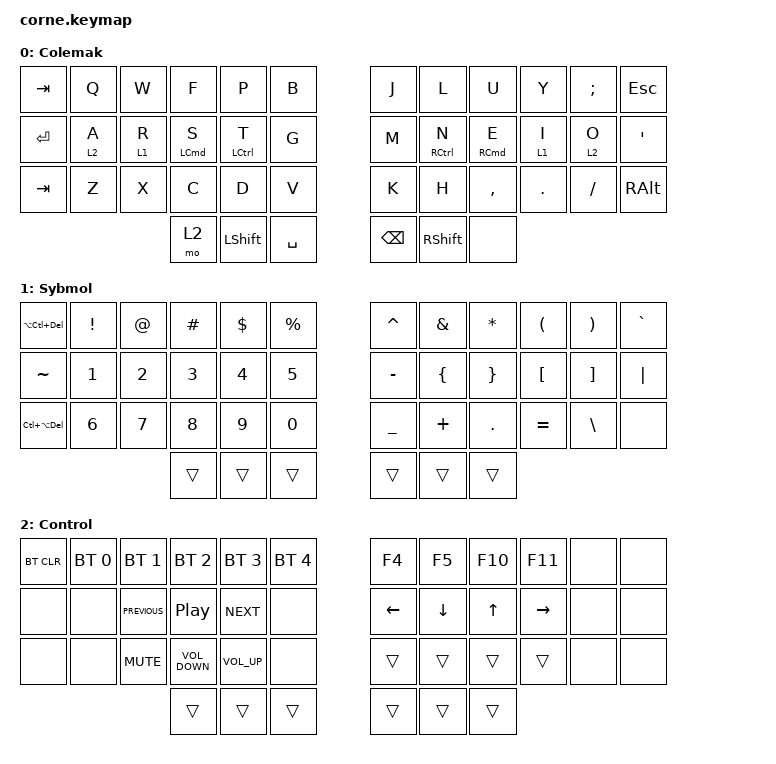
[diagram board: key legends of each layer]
/*
 * Copyright (c) 2020 The ZMK Contributors
 *
 * SPDX-License-Identifier: MIT
 */

#include <behaviors.dtsi>
#include <dt-bindings/zmk/bt.h>
#include <dt-bindings/zmk/keys.h>

/ {
    behaviors {
        hrm_tl: balanced_homerow_mods {
            compatible = "zmk,behavior-hold-tap";
            #binding-cells = <2>;
            tapping-term-ms = <200>;    // <---[[moderate duration]]
            quick-tap-ms = <0>;
            flavor = "tap-preferred";
            bindings = <&kp>, <&kp>;

            hold-trigger-key-positions = <6 7 8 9 10 11 18 19 20 21 22 23 30 31 32 33 34 35 40 41 39>;
            require-prior-idle-ms = <200>;
        };

        hrm_lr: hrm_lr {
            compatible = "zmk,behavior-hold-tap";
            label = "HRM_LR";
            bindings = <&mo>, <&kp>;

            #binding-cells = <2>;
            flavor = "tap-preferred";
            tapping-term-ms = <200>;
            hold-trigger-key-positions = <0 1 2 3 4 5 12 13 14 15 16 17 24 25 26 27 28 29 36 37 38>;
            require-prior-idle-ms = <200>;
        };

        hrm_tr: hrm_tr {
            compatible = "zmk,behavior-hold-tap";
            #binding-cells = <2>;
            tapping-term-ms = <200>;
            quick-tap-ms = <0>;
            flavor = "tap-preferred";
            bindings = <&kp>, <&kp>;

            label = "HRM_TR";
            hold-trigger-key-positions = <0 1 2 3 4 5 12 13 14 15 16 17 24 25 26 27 28 29 36 37 38>;
            require-prior-idle-ms = <200>;
        };

        hrm_ll: hrm_ll {
            compatible = "zmk,behavior-hold-tap";
            label = "HRM_LL";
            bindings = <&mo>, <&kp>;

            #binding-cells = <2>;
            flavor = "tap-preferred";
            tapping-term-ms = <200>;
            hold-trigger-key-positions = <6 7 8 9 10 11 18 19 20 21 22 23 30 31 32 33 34 35 39 40 41>;
            require-prior-idle-ms = <200>;
        };
    };

    combos {
        compatible = "zmk,combos";

        boot_r {
            bindings = <&bootloader>;
            key-positions = <33 34 35 32>;
        };

        boot_l {
            bindings = <&bootloader>;
            key-positions = <24 25 26 27>;
        };
    };

    keymap {
        compatible = "zmk,keymap";

        Colemak {
            // -----------------------------------------------------------------------------------------
            // |  TAB |  Q  |  W  |  E  |  R  |  T  |   |  Y  |  U   |  I  |  O  |  P  | BKSP |
            // | CTRL |  A  |  S  |  D  |  F  |  G  |   |  H  |  J   |  K  |  L  |  ;  |  '   |
            // | SHFT |  Z  |  X  |  C  |  V  |  B  |   |  N  |  M   |  ,  |  .  |  /  | ESC  |
            //                    | GUI | LWR | SPC |   | ENT | RSE  | ALT |

            bindings = <
&kp TAB    &kp Q        &kp W        &kp F           &kp P            &kp B        &kp J          &kp L                    &kp U           &kp Y        &kp SEMICOLON  &kp ESCAPE
&kp ENTER  &hrm_ll 2 A  &hrm_ll 1 R  &hrm_tl LCMD S  &hrm_tl LCTRL T  &kp G        &kp M          &hrm_tr RIGHT_CONTROL N  &hrm_tr RCMD E  &hrm_lr 1 I  &hrm_lr 2 O    &kp SQT
&kp TAB    &kp Z        &kp X        &kp C           &kp D            &kp V        &kp K          &kp H                    &kp COMMA       &kp DOT      &kp FSLH       &kp RIGHT_ALT
                                     &mo 2           &kp LEFT_SHIFT   &kp SPACE    &kp BACKSPACE  &kp RIGHT_SHIFT          &none
            >;
        };

        Sybmol {
            // -----------------------------------------------------------------------------------------
            // |  TAB |  1  |  2  |  3  |  4  |  5  |   |  6  |  7  |  8  |  9  |  0  | BKSP |
            // | BTCLR| BT1 | BT2 | BT3 | BT4 | BT5 |   | LFT | DWN |  UP | RGT |     |      |
            // | SHFT |     |     |     |     |     |   |     |     |     |     |     |      |
            //                    | GUI |     | SPC |   | ENT |     | ALT |

            bindings = <
&kp LA(LC(DELETE))  &kp EXCL      &kp AT        &kp HASH      &kp DOLLAR    &kp PERCENT    &kp CARET       &kp AMPERSAND   &kp ASTERISK     &kp LEFT_PARENTHESIS  &kp RIGHT_PARENTHESIS  &kp GRAVE
&kp TILDE           &kp NUMBER_1  &kp NUMBER_2  &kp NUMBER_3  &kp NUMBER_4  &kp N5         &kp MINUS       &kp LEFT_BRACE  &kp RIGHT_BRACE  &kp LEFT_BRACKET      &kp RIGHT_BRACKET      &kp PIPE
&kp LC(LA(DELETE))  &kp NUMBER_6  &kp N7        &kp N8        &kp N9        &kp N0         &kp UNDERSCORE  &kp PLUS        &kp PERIOD       &kp EQUAL             &kp BACKSLASH          &none
                                                &trans        &trans        &trans         &trans          &trans          &trans
            >;
        };

        Control {
            // -----------------------------------------------------------------------------------------
            // |  TAB |  !  |  @  |  #  |  $  |  %  |   |  ^  |  &  |  *  |  (  |  )  | BKSP |
            // | CTRL |     |     |     |     |     |   |  -  |  =  |  [  |  ]  |  \  |  `   |
            // | SHFT |     |     |     |     |     |   |  _  |  +  |  {  |  }  | "|" |  ~   |
            //                    | GUI |     | SPC |   | ENT |     | ALT |

            bindings = <
&bt BT_CLR  &bt BT_SEL 0  &bt BT_SEL 1    &bt BT_SEL 2       &bt BT_SEL 3     &bt BT_SEL 4    &kp F4    &kp F5    &kp F10       &kp F11    &none  &none
&none       &none         &kp C_PREVIOUS  &kp C_PLAY_PAUSE   &kp C_NEXT       &none           &kp LEFT  &kp DOWN  &kp UP_ARROW  &kp RIGHT  &none  &none
&none       &none         &kp K_MUTE      &kp C_VOLUME_DOWN  &kp C_VOLUME_UP  &none           &trans    &trans    &trans        &trans     &none  &none
                                          &trans             &trans           &trans          &trans    &trans    &trans
            >;
        };
    };
};
